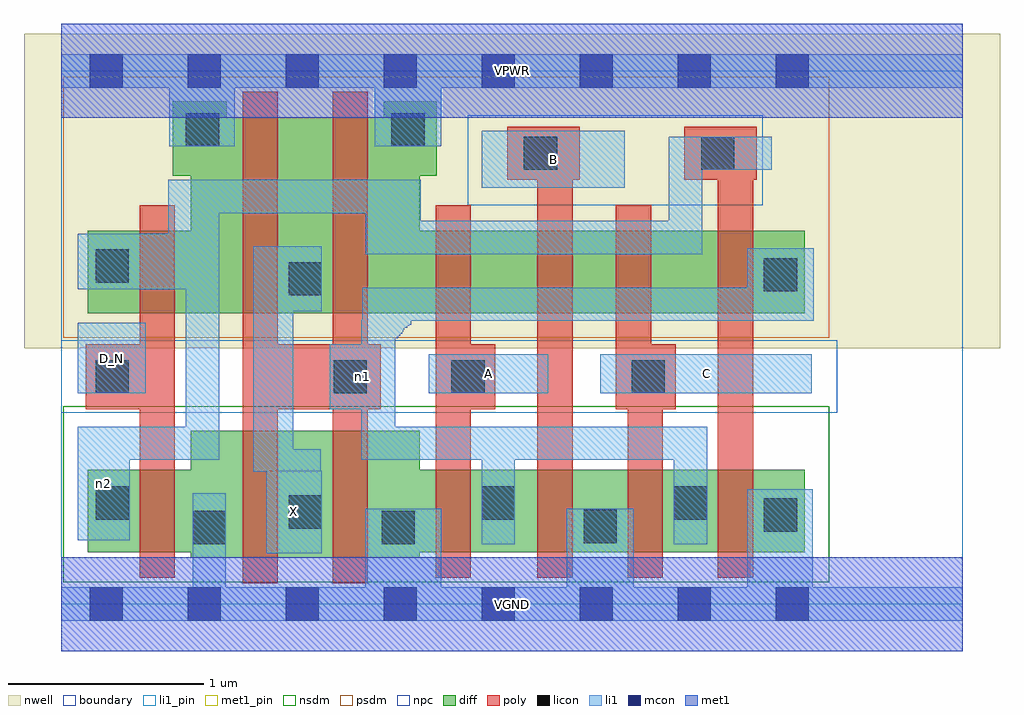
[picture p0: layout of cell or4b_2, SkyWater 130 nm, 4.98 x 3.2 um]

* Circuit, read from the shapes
.subckt or4b_2 A B C D_N VGND VPWR X n1 n2
XM1 VGND D_N n2 VSUBS sky130_fd_pr__nfet_01v8 w=0.42 l=0.18
XM2 X n1 VGND VSUBS sky130_fd_pr__nfet_01v8 w=0.65 l=0.18 m=2
XM3 n1 A VGND VSUBS sky130_fd_pr__nfet_01v8 w=0.42 l=0.18
XM4 VGND B n1 VSUBS sky130_fd_pr__nfet_01v8 w=0.42 l=0.18
XM5 n1 C VGND VSUBS sky130_fd_pr__nfet_01v8 w=0.42 l=0.18
XM6 VGND n2 n1 VSUBS sky130_fd_pr__nfet_01v8 w=0.42 l=0.18
XM7 VPWR D_N n2 n3 sky130_fd_pr__pfet_01v8 w=0.42 l=0.18
XM8 X n1 VPWR n3 sky130_fd_pr__pfet_01v8 w=1 l=0.18 m=2
XM9 n4 A VPWR n3 sky130_fd_pr__pfet_01v8 w=0.42 l=0.18
XM10 n5 B n4 n3 sky130_fd_pr__pfet_01v8 w=0.42 l=0.18
XM11 n6 C n5 n3 sky130_fd_pr__pfet_01v8 w=0.42 l=0.18
XM12 n1 n2 n6 n3 sky130_fd_pr__pfet_01v8 w=0.42 l=0.18
.ends

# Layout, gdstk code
import gdstk
lib = gdstk.Library(unit=1e-6, precision=1e-09)
def R(c, l, rs):  # rectangles x0, y0, x1, y1
    for r in rs: c.add(gdstk.rectangle(r[:2], r[2:], *l))
def A(c, l, x, y, w, h, nx, ny, dx, dy):  # array of equal rectangles
    R(c, l, [(x+i*dx, y+j*dy, x+i*dx+w, y+j*dy+h) for i in range(nx) for j in range(ny)])
nwell = (64, 20)
diff = (65, 20)
poly = (66, 20)
licon = (66, 44)
li1_pin = (67, 16)
li1 = (67, 20)
mcon = (67, 44)
met1_pin = (68, 16)
met1 = (68, 20)
nsdm = (93, 44)
psdm = (94, 20)
npc = (95, 20)
boundary = (235, 4)

or4b_2 = lib.new_cell('or4b_2')
R(or4b_2, nwell, [(-0.19,1.305,4.79,2.91), (0,1.305,4.6,2.91)])
R(or4b_2, diff, [(0.66,0.235,1.83,0.885), (0.135,0.265,3.795,0.685), (0.135,1.485,3.795,1.905), (0.66,1.485,1.83,2.485), (0.57,2.185,1.915,2.485), (0.57,2.185,0.845,2.565), (1.645,2.185,1.915,2.565)])
R(or4b_2, poly, [(0.925,0.105,1.105,2.615), (1.385,0.105,1.565,2.615), (0.4,0.135,0.58,2.035), (1.91,0.135,2.09,2.035), (2.43,0.135,2.61,2.435), (2.89,0.135,3.07,1.325), (3.35,0.135,3.53,2.435), (0.125,0.995,0.58,1.325), (0.925,0.995,1.63,1.325), (1.91,0.995,2.215,1.325), (2.83,0.995,3.135,1.325), (2.83,0.995,3.01,2.035), (2.275,2.165,2.645,2.435), (3.18,2.165,3.55,2.435)])
R(or4b_2, licon, [(0.67,0.305,0.84,0.475), (1.635,0.305,1.805,0.475), (2.665,0.31,2.835,0.48), (3.585,0.37,3.755,0.54), (1.16,0.385,1.33,0.555), (0.175,0.43,0.345,0.6), (2.145,0.43,2.315,0.6), (3.125,0.43,3.295,0.6), (0.175,1.075,0.345,1.245), (1.39,1.075,1.56,1.245), (1.99,1.075,2.16,1.245), (2.91,1.075,3.08,1.245), (1.16,1.575,1.33,1.745), (3.585,1.595,3.755,1.765), (0.175,1.64,0.345,1.81), (2.36,2.215,2.53,2.385), (3.265,2.215,3.435,2.385), (0.635,2.335,0.805,2.505), (1.685,2.335,1.855,2.505)])
R(or4b_2, li1_pin, [(1.045,0.26,1.33,0.68), (0.085,1.075,0.43,1.435), (1.875,1.075,2.485,1.275), (2.75,1.075,3.83,1.275), (2.145,2.125,2.875,2.415)])
R(or4b_2, li1, [(0,-0.085,4.6,0.085), (0.67,-0.085,0.84,0.565), (1.55,-0.085,1.94,0.485), (2.58,-0.085,2.92,0.485), (3.5,-0.085,3.835,0.585), (1.045,0.26,1.33,0.68), (2.145,0.305,2.315,0.905), (3.125,0.305,3.295,0.905), (0.085,0.325,0.35,0.905), (0.98,0.675,1.185,1.825), (0.98,0.675,1.325,0.79), (0.085,0.735,0.805,0.905), (0.635,0.735,0.805,2.165), (1.53,0.735,3.295,0.905), (1.53,0.735,1.705,1.45), (1.37,0.995,1.705,1.325), (0.085,1.075,0.43,1.435), (1.875,1.075,2.485,1.275), (2.75,1.075,3.83,1.275), (1.535,1.355,1.72,1.615), (1.535,1.37,1.73,1.615), (1.535,1.38,1.74,1.615), (1.535,1.39,1.745,1.615), (1.535,1.4,1.75,1.615), (1.535,1.41,1.765,1.615), (1.535,1.42,1.775,1.615), (1.535,1.425,1.785,1.615), (1.535,1.445,3.84,1.615), (3.5,1.445,3.84,1.815), (0.98,1.495,1.33,1.825), (0.085,1.605,0.805,1.89), (0.545,1.605,0.805,2.165), (1.555,1.785,3.27,1.955), (1.555,1.785,1.835,2.165), (3.1,1.785,3.27,2.385), (0.545,1.995,1.835,2.165), (2.145,2.125,2.875,2.415), (3.1,2.215,3.625,2.385), (0.55,2.335,0.885,2.805), (1.6,2.335,1.94,2.805), (0,2.635,4.6,2.805)])
A(or4b_2, mcon, 0.145, -0.085, 0.17, 0.17, 8, 2, 0.5, 2.72)
R(or4b_2, met1_pin, [(0,-0.24,4.6,0.24), (0,2.48,4.6,2.96)])
R(or4b_2, met1, [(0,-0.24,4.6,0.24), (0,2.48,4.6,2.96)])
R(or4b_2, nsdm, [(0.01,0.11,3.92,1.01)])
R(or4b_2, psdm, [(0.01,1.36,3.92,2.69)])
R(or4b_2, npc, [(0,0.975,3.96,1.345), (2.075,2.035,3.58,2.495)])
R(or4b_2, boundary, [(0,0,4.6,2.72)])
or4b_2.add(gdstk.Label('A', (2.18,1.175), layer=67, texttype=5))
or4b_2.add(gdstk.Label('B', (2.51,2.27), layer=67, texttype=5))
or4b_2.add(gdstk.Label('C', (3.29,1.175), layer=67, texttype=5))
or4b_2.add(gdstk.Label('D_N', (0.257,1.255), layer=67, texttype=5))
or4b_2.add(gdstk.Label('X', (1.187,0.47), layer=67, texttype=5))
or4b_2.add(gdstk.Label('n1', (1.537,1.16), layer=67, texttype=5))
or4b_2.add(gdstk.Label('n2', (0.217,0.615), layer=67, texttype=5))
or4b_2.add(gdstk.Label('VPWR', (2.3,2.72), layer=68, texttype=5))
or4b_2.add(gdstk.Label('VGND', (2.3,0), layer=68, texttype=5))
or4b_2.add(gdstk.Label('A', (2.18,1.175), layer=67, texttype=16))
or4b_2.add(gdstk.Label('B', (2.51,2.27), layer=67, texttype=16))
or4b_2.add(gdstk.Label('C', (3.29,1.175), layer=67, texttype=16))
or4b_2.add(gdstk.Label('D_N', (0.257,1.255), layer=67, texttype=16))
or4b_2.add(gdstk.Label('X', (1.187,0.47), layer=67, texttype=16))
or4b_2.add(gdstk.Label('VPWR', (2.3,2.72), layer=68, texttype=16))
or4b_2.add(gdstk.Label('VGND', (2.3,0), layer=68, texttype=16))

lib.write_gds('or4b_2.gds')
